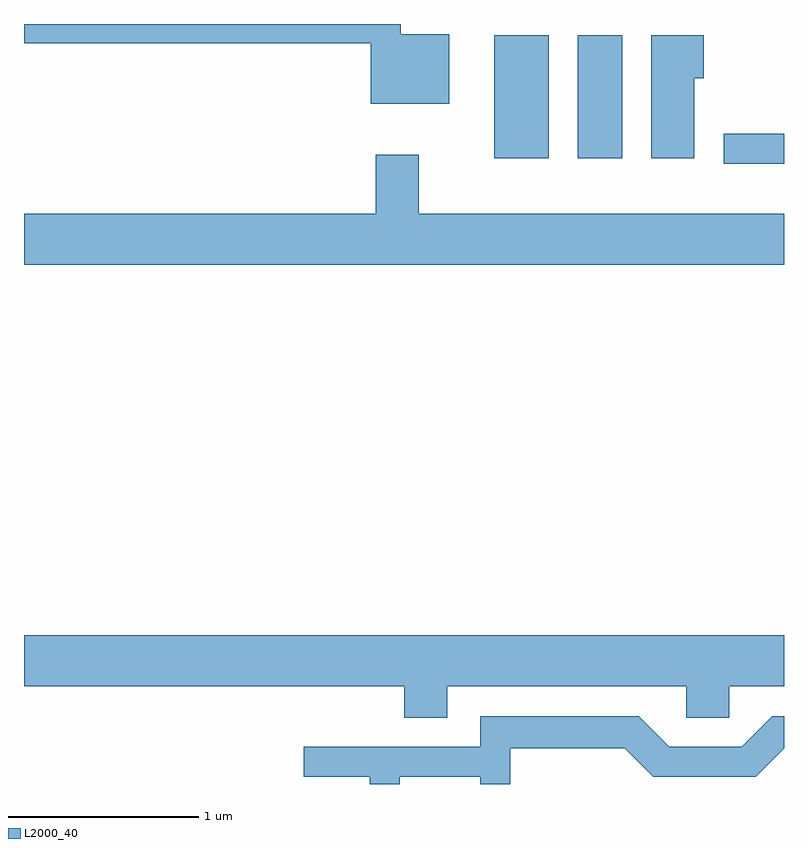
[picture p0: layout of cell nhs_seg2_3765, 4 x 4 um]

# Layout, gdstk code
import gdstk
lib = gdstk.Library(unit=1e-6, precision=1e-09)
def R(c, l, rs):  # rectangles x0, y0, x1, y1
    for r in rs: c.add(gdstk.rectangle(r[:2], r[2:], *l))
def P(c, l, *ps):  # polygons
    for p in ps: c.add(gdstk.Polygon(p, *l))
L2000_40 = (2000, 40)

nhs_seg2_3765 = lib.new_cell('nhs_seg2_3765')
R(nhs_seg2_3765, L2000_40, [(299.293,1051.066,299.611,1051.224), (298.086,1051.096,298.374,1051.744), (298.526,1051.096,298.759,1051.744)])
P(nhs_seg2_3765, L2000_40, [(297.849,1051.749),(297.594,1051.749),(297.594,1051.802),(295.611,1051.802),(295.611,1051.701),(297.436,1051.701),(297.436,1051.381),(297.849,1051.381)],
  [(299.139,1051.516),(299.189,1051.516),(299.189,1051.744),(298.911,1051.744),(298.911,1051.096),(299.139,1051.096)],
  [(299.611,1050.804),(297.689,1050.804),(297.689,1051.114),(297.461,1051.114),(297.461,1050.804),(295.611,1050.804),(295.611,1050.536),(299.611,1050.536)],
  [(297.839,1048.316),(299.096,1048.316),(299.096,1048.151),(299.324,1048.151),(299.324,1048.316),(299.611,1048.316),(299.611,1048.584),(295.611,1048.584),(295.611,1048.316),(297.611,1048.316),(297.611,1048.151),(297.839,1048.151)],
  [(297.589,1047.841),(298.011,1047.841),(298.011,1047.802),(298.169,1047.802),(298.169,1047.991),(298.774,1047.991),(298.924,1047.841),(299.462,1047.841),(299.611,1047.99),(299.611,1048.159),(299.549,1048.159),(299.389,1047.999),(299.007,1047.999),(298.847,1048.159),(298.011,1048.159),(298.011,1047.999),(297.083,1047.999),(297.083,1047.841),(297.431,1047.841),(297.431,1047.802),(297.589,1047.802)])

lib.write_gds('nhs_seg2_3765.gds')
